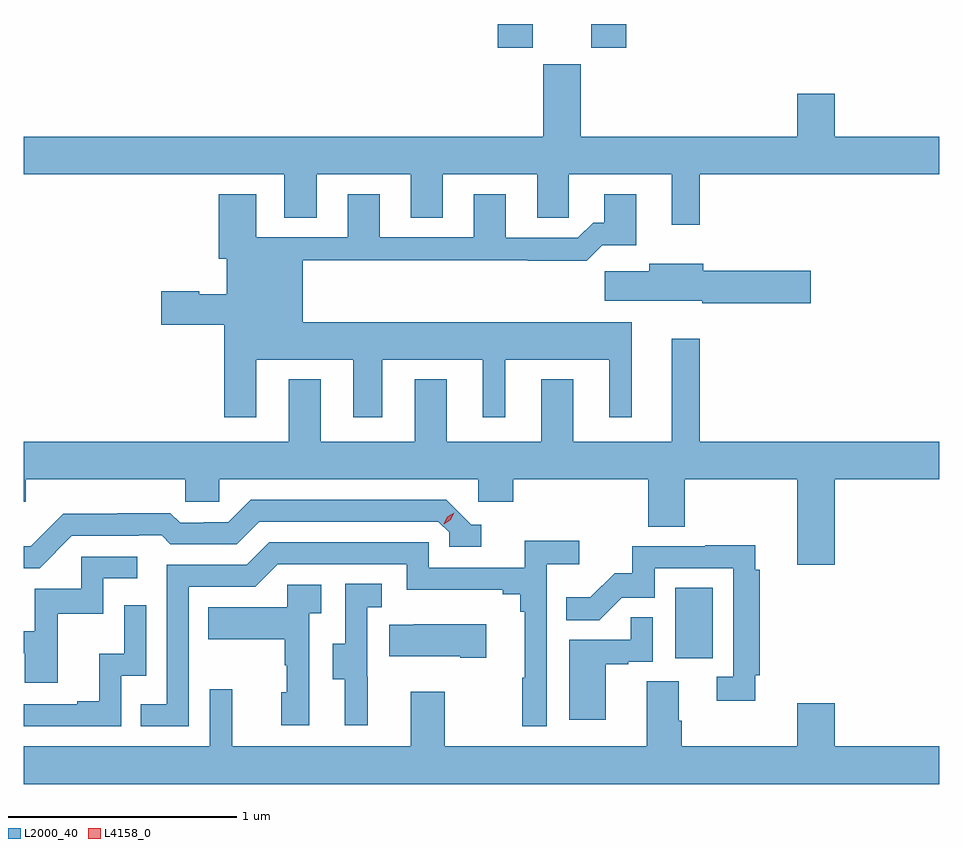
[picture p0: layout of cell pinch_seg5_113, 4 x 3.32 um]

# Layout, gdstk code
import gdstk
lib = gdstk.Library(unit=1e-6, precision=1e-09)
def R(c, l, rs):  # rectangles x0, y0, x1, y1
    for r in rs: c.add(gdstk.rectangle(r[:2], r[2:], *l))
def P(c, l, *ps):  # polygons
    for p in ps: c.add(gdstk.Polygon(p, *l))
L2000_40 = (2000, 40)
L4158_0 = (4158, 0)

pinch_seg5_113 = lib.new_cell('pinch_seg5_113')
R(pinch_seg5_113, L2000_40, [(1039.598,891.942,1039.762,892.249), (1038.824,894.609,1038.976,894.713), (1039.232,894.609,1039.385,894.713)])
P(pinch_seg5_113, L2000_40, [(1036.752,894.056),(1037.891,894.056),(1037.891,893.866),(1038.031,893.866),(1038.031,894.056),(1038.443,894.056),(1038.443,893.866),(1038.583,893.866),(1038.583,894.056),(1038.995,894.056),(1038.995,893.866),(1039.134,893.866),(1039.134,894.056),(1039.583,894.056),(1039.583,893.835),(1039.705,893.835),(1039.705,894.056),(1040.752,894.056),(1040.752,894.22),(1040.296,894.22),(1040.296,894.409),(1040.132,894.409),(1040.132,894.22),(1039.186,894.22),(1039.186,894.537),(1039.022,894.537),(1039.022,894.22),(1036.752,894.22)],
  [(1037.767,893.246),(1038.191,893.246),(1038.191,892.995),(1038.319,892.995),(1038.319,893.246),(1038.758,893.246),(1038.758,892.995),(1038.856,892.995),(1038.856,893.246),(1039.31,893.246),(1039.31,892.995),(1039.408,892.995),(1039.408,893.41),(1037.971,893.41),(1037.971,893.68),(1038.955,893.68),(1038.955,893.678),(1039.211,893.678),(1039.28,893.747),(1039.429,893.747),(1039.429,893.968),(1039.289,893.968),(1039.289,893.845),(1039.24,893.845),(1039.173,893.778),(1038.859,893.778),(1038.859,893.968),(1038.719,893.968),(1038.719,893.781),(1038.307,893.781),(1038.307,893.968),(1038.167,893.968),(1038.167,893.781),(1037.767,893.781),(1037.767,893.968),(1037.603,893.968),(1037.603,893.688),(1037.639,893.688),(1037.639,893.533),(1037.519,893.533),(1037.519,893.546),(1037.352,893.546),(1037.352,893.399),(1037.627,893.399),(1037.627,892.995),(1037.767,892.995)],
  [(1040.191,893.634),(1039.72,893.634),(1039.72,893.665),(1039.484,893.665),(1039.484,893.633),(1039.29,893.633),(1039.29,893.504),(1039.716,893.504),(1039.716,893.492),(1040.191,893.492)],
  [(1040.296,892.724),(1040.752,892.724),(1040.752,892.888),(1039.705,892.888),(1039.705,893.338),(1039.583,893.338),(1039.583,892.888),(1039.153,892.888),(1039.153,893.161),(1039.013,893.161),(1039.013,892.888),(1038.601,892.888),(1038.601,893.161),(1038.461,893.161),(1038.461,892.888),(1038.049,892.888),(1038.049,893.161),(1037.909,893.161),(1037.909,892.888),(1036.752,892.888),(1036.752,892.626),(1036.76,892.626),(1036.76,892.724),(1037.457,892.724),(1037.457,892.626),(1037.607,892.626),(1037.607,892.724),(1038.738,892.724),(1038.738,892.626),(1038.89,892.626),(1038.89,892.724),(1039.481,892.724),(1039.481,892.516),(1039.641,892.516),(1039.641,892.724),(1040.132,892.724),(1040.132,892.35),(1040.296,892.35)],
  [(1036.962,892.476),(1037.255,892.476),(1037.255,892.479),(1037.354,892.479),(1037.393,892.44),(1037.682,892.44),(1037.781,892.539),(1038.564,892.539),(1038.612,892.491),(1038.612,892.428),(1038.751,892.428),(1038.751,892.524),(1038.708,892.524),(1038.597,892.635),(1037.744,892.635),(1037.645,892.536),(1037.538,892.536),(1037.538,892.533),(1037.435,892.533),(1037.393,892.576),(1037.16,892.576),(1037.16,892.573),(1036.924,892.573),(1036.782,892.431),(1036.752,892.431),(1036.752,892.335),(1036.821,892.335)],
  [(1037.472,892.254),(1037.763,892.254),(1037.862,892.353),(1038.426,892.353),(1038.426,892.241),(1038.845,892.241),(1038.845,892.222),(1038.922,892.222),(1038.922,892.145),(1038.941,892.145),(1038.941,891.857),(1038.93,891.857),(1038.93,891.645),(1039.038,891.645),(1039.038,892.352),(1039.18,892.352),(1039.18,892.454),(1038.941,892.454),(1038.941,892.338),(1038.522,892.338),(1038.522,892.449),(1037.825,892.449),(1037.726,892.35),(1037.376,892.35),(1037.376,891.741),(1037.263,891.741),(1037.263,891.645),(1037.472,891.645)],
  [(1039.949,891.868),(1039.967,891.868),(1039.967,892.328),(1039.949,892.328),(1039.949,892.436),(1039.729,892.436),(1039.729,892.431),(1039.411,892.431),(1039.411,892.314),(1039.334,892.314),(1039.227,892.207),(1039.123,892.207),(1039.123,892.108),(1039.267,892.108),(1039.365,892.206),(1039.509,892.206),(1039.509,892.335),(1039.851,892.335),(1039.851,891.861),(1039.779,891.861),(1039.779,891.756),(1039.949,891.756)],
  [(1036.901,892.137),(1037.1,892.137),(1037.1,892.29),(1037.248,892.29),(1037.248,892.386),(1037.004,892.386),(1037.004,892.245),(1036.799,892.245),(1036.799,892.059),(1036.752,892.059),(1036.752,891.963),(1036.757,891.963),(1036.757,891.834),(1036.901,891.834)],
  [(1038.254,891.861),(1038.252,891.861),(1038.252,892.165),(1038.316,892.165),(1038.316,892.268),(1038.156,892.268),(1038.156,892.005),(1038.101,892.005),(1038.101,891.85),(1038.155,891.85),(1038.155,891.648),(1038.254,891.648)],
  [(1038,892.139),(1038.052,892.139),(1038.052,892.263),(1037.904,892.263),(1037.904,892.165),(1037.557,892.165),(1037.557,892.025),(1037.892,892.025),(1037.892,891.911),(1037.902,891.911),(1037.902,891.792),(1037.876,891.792),(1037.876,891.648),(1038,891.648)],
  [(1037.178,891.864),(1037.286,891.864),(1037.286,892.174),(1037.19,892.174),(1037.19,891.962),(1037.081,891.962),(1037.081,891.754),(1036.985,891.754),(1036.985,891.741),(1036.752,891.741),(1036.752,891.645),(1037.178,891.645)],
  [(1039.294,891.915),(1039.394,891.915),(1039.394,891.927),(1039.5,891.927),(1039.5,892.121),(1039.405,892.121),(1039.405,892.023),(1039.136,892.023),(1039.136,891.672),(1039.294,891.672)],
  [(1038.772,892.09),(1038.457,892.09),(1038.457,892.087),(1038.349,892.087),(1038.349,891.95),(1038.659,891.95),(1038.659,891.943),(1038.772,891.943)],
  [(1040.752,891.556),(1040.296,891.556),(1040.296,891.745),(1040.132,891.745),(1040.132,891.556),(1039.628,891.556),(1039.628,891.668),(1039.615,891.668),(1039.615,891.842),(1039.475,891.842),(1039.475,891.556),(1038.591,891.556),(1038.591,891.796),(1038.443,891.796),(1038.443,891.556),(1037.663,891.556),(1037.663,891.805),(1037.565,891.805),(1037.565,891.556),(1036.752,891.556),(1036.752,891.392),(1040.752,891.392)])
P(pinch_seg5_113, L4158_0, [(1038.586,892.526),(1038.586,892.526),(1038.603,892.559),(1038.634,892.578),(1038.634,892.578),(1038.634,892.578),(1038.618,892.546),(1038.587,892.526)])

lib.write_gds('pinch_seg5_113.gds')
